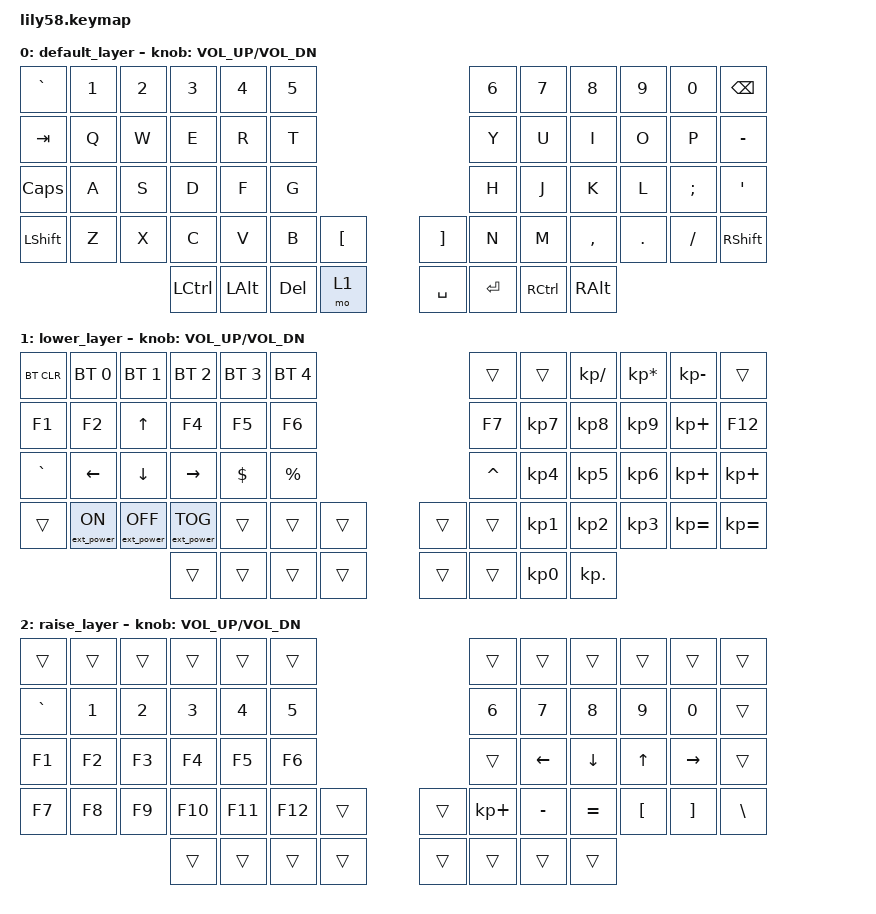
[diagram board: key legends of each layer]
/*
 * Copyright (c) 2020 The ZMK Contributors
 *
 * SPDX-License-Identifier: MIT
 */

#include <behaviors.dtsi>
#include <dt-bindings/zmk/keys.h>
#include <dt-bindings/zmk/bt.h>
#include <dt-bindings/zmk/ext_power.h>

/ {
    keymap {
        compatible = "zmk,keymap";

        default_layer {
            // ------------------------------------------------------------------------------------------------------------
            // |  GRAVE  |  1  |  2  |  3   |  4   |  5   |                   |  6   |  7    |  8    |  9   |   0   |  BSPC |
            // |  TAB  |  Q  |  W  |  E   |  R   |  T   |                   |  Y   |  U    |  I    |  O   |   P   |   -   |
            // |  CAPS |  A  |  S  |  D   |  F   |  G   |                   |  H   |  J    |  K    |  L   |   ;   |   '   |
            // | SHIFT |  Z  |  X  |  C   |  V   |  B   |   "["  |  |  "]"  |  N   |  M    |  ,    |  .   |   /   | SHIFT |
            //                     | LALT  | LCTRL  | ENTER|            LOWER |  | SPACE | ENTER| RCTRL  | RALT   |

            bindings = <
 &kp GRAVE  &kp N1  &kp N2     &kp N3    &kp N4   &kp N5                        &kp N6     &kp N7     &kp N8   &kp N9    &kp N0   &kp BSPC
   &kp TAB   &kp Q   &kp W      &kp E     &kp R    &kp T                         &kp Y      &kp U      &kp I    &kp O     &kp P  &kp MINUS
  &kp CAPS   &kp A   &kp S      &kp D     &kp F    &kp G                         &kp H      &kp J      &kp K    &kp L  &kp SEMI    &kp SQT
 &kp LSHFT   &kp Z   &kp X      &kp C     &kp V    &kp B  &kp LBKT   &kp RBKT    &kp N      &kp M  &kp COMMA  &kp DOT  &kp FSLH  &kp RSHFT
                            &kp LCTRL  &kp LALT  &kp DEL     &mo 1  &kp SPACE  &kp RET  &kp RCTRL   &kp RALT
            >;

            sensor-bindings = <&inc_dec_kp C_VOL_UP C_VOL_DN>;
        };

        lower_layer {
            // ------------------------------------------------------------------------------------------------------------
            // | BTCLR | BT1 | BT2 |  BT3 |  BT4 |  BT5 |                   |      |       |    \   |   *   |       |       |
            // |  F1   |  F2 |  F3 |  F4  |  F5  |  F6  |                   |  F7  |  7  |  8   |  9 |  F11  |  F12  |
            // |   `   |  !  |  @  |  #   |  $   |  %   |                   |  ^   |  4    |  5    |  6  |   )   |   ~   |
            // |       |     |     |      |      |      |        |  |       |      |  1   |  2   |  3  |   }   |  "|"  |
            //                     |      |      |      |        |  |       |      |  0     |    .   |

            bindings = <
 &bt BT_CLR      &bt BT_SEL 0       &bt BT_SEL 1       &bt BT_SEL 2  &bt BT_SEL 3  &bt BT_SEL 4                     &trans     &trans  &kp KP_DIVIDE  &kp KP_ASTERISK  &kp KP_MINUS        &trans
     &kp F1            &kp F2             &kp UP             &kp F4        &kp F5        &kp F6                     &kp F7  &kp KP_N7      &kp KP_N8        &kp KP_N9   &kp KP_PLUS       &kp F12
  &kp GRAVE          &kp LEFT           &kp DOWN          &kp RIGHT    &kp DOLLAR     &kp PRCNT                  &kp CARET  &kp KP_N4      &kp KP_N5        &kp KP_N6   &kp KP_PLUS   &kp KP_PLUS
     &trans  &ext_power EP_ON  &ext_power EP_OFF  &ext_power EP_TOG        &trans        &trans  &trans  &trans     &trans  &kp KP_N1      &kp KP_N2        &kp KP_N3  &kp KP_EQUAL  &kp KP_EQUAL
                                                             &trans        &trans        &trans  &trans  &trans     &trans  &kp KP_N0     &kp KP_DOT
            >;

            sensor-bindings = <&inc_dec_kp C_VOL_UP C_VOL_DN>;
        };

        raise_layer {
            // ------------------------------------------------------------------------------------------------------------
            // |       |     |     |      |      |      |                   |      |       |       |      |       |       |
            // |   `   |  1  |  2  |  3   |  4   |  5   |                   |  6   |   7   |   8   |  9   |   0   |       |
            // |   F1  |  F2 |  F3 |  F4  |  F5  |  F6  |                   |      |   <-  |   v   |  ^   |  ->   |       |
            // |   F7  |  F8 |  F9 |  F10 |  F11 |  F12 |        |  |       |  +   |   -   |   =   |  [   |   ]   |   \   |
            //                     |      |      |      |        |  |       |      |       |       |

            bindings = <
    &trans  &trans  &trans   &trans   &trans   &trans                       &trans     &trans     &trans    &trans     &trans    &trans
 &kp GRAVE  &kp N1  &kp N2   &kp N3   &kp N4   &kp N5                       &kp N6     &kp N7     &kp N8    &kp N9     &kp N0    &trans
    &kp F1  &kp F2  &kp F3   &kp F4   &kp F5   &kp F6                       &trans   &kp LEFT   &kp DOWN    &kp UP  &kp RIGHT    &trans
    &kp F7  &kp F8  &kp F9  &kp F10  &kp F11  &kp F12  &trans  &trans  &kp KP_PLUS  &kp MINUS  &kp EQUAL  &kp LBKT   &kp RBKT  &kp BSLH
                             &trans   &trans   &trans  &trans  &trans       &trans     &trans     &trans
            >;

            sensor-bindings = <&inc_dec_kp C_VOL_UP C_VOL_DN>;
        };
    };
};
